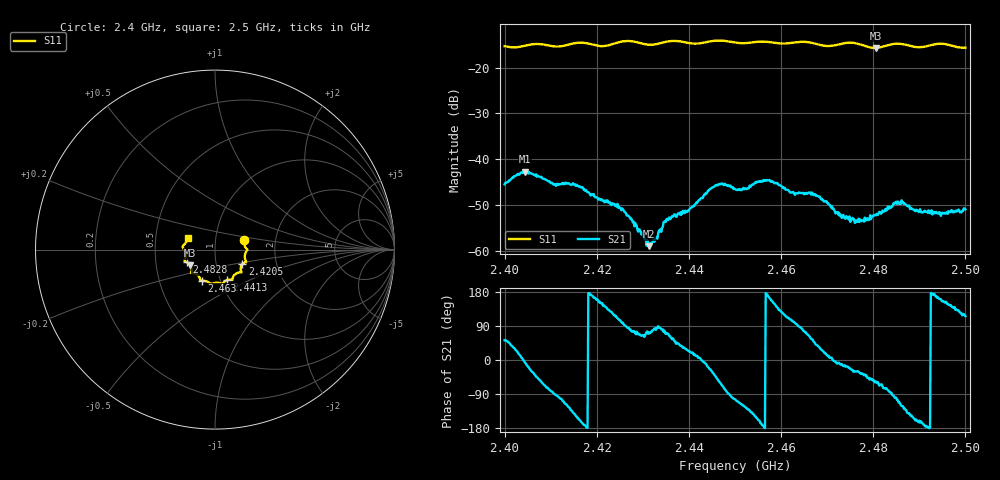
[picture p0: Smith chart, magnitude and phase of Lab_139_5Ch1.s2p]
# Hz S RI R 50
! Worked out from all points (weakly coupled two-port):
!   601 points, 2.4 GHz to 2.5 GHz, reference 50 ohm
!   highest |S21| = -42.65 dB at 2.4045 GHz (marker M1); lowest = -58.9 dB at 2.4313 GHz (marker M2)
!   lowest |S11| = -15.7 dB at 2.4805 GHz (marker M3), VSWR 1.39, Z = 37.3 - j6.69 ohm
!   |S11| at or under -10 dB: start of sweep to end of sweep
!   S12 and S22 are empty: the file has one direction only
!   S11 on the Smith chart (normalised r, x): 2.4 GHz: 1.38, +0.15; 2.4205 GHz: 1.34, -0.22; 2.4413 GHz: 1.08, -0.38; 2.463 GHz: 0.82, -0.29; 2.4828 GHz: 0.72, -0.10; 2.5 GHz: 0.73, +0.10
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2.4e9  0.1629 0.0521  0.00329 0.00422  0 0  0 0
2.4045e9  0.1733 0.00682  0.0073 -0.00105  0 0  0 0
2.410667e9  0.1688 -0.0214  0.000145 -0.00538  0 0  0 0
2.416667e9  0.1735 -0.0697  -0.0048 -0.00137  0 0  0 0
2.4205e9  0.1519 -0.081  -0.00331 0.00175  0 0  0 0
2.425833e9  0.1477 -0.1251  -0.000217 0.00277  0 0  0 0
2.431333e9  0.1147 -0.1354  0.000352 0.00108  0 0  0 0
2.433333e9  0.1005 -0.1517  2.23e-05 0.00157  0 0  0 0
2.435167e9  0.0976 -0.1649  0.000708 0.00213  0 0  0 0
2.441333e9  0.0676 -0.1696  0.00317 0.000675  0 0  0 0
2.446e9  0.0419 -0.1924  0.00358 -0.00385  0 0  0 0
2.45e9  0.0246 -0.1858  -0.00109 -0.00462  0 0  0 0
2.457e9  -0.0252 -0.189  -0.00591 0.000767  0 0  0 0
2.463e9  -0.072 -0.1738  -0.00058 0.00406  0 0  0 0
2.466667e9  -0.0816 -0.1673  0.0025 0.00357  0 0  0 0
2.4755e9  -0.1337 -0.1298  0.00208 -0.001  0 0  0 0
2.4805e9  -0.1384 -0.0872  0.00135 -0.0021  0 0  0 0
2.482833e9  -0.1585 -0.07  0.000753 -0.00266  0 0  0 0
2.483333e9  -0.1625 -0.0681  0.00043 -0.00286  0 0  0 0
2.485833e9  -0.1703 -0.0624  -0.0014 -0.00307  0 0  0 0
2.494333e9  -0.181 0.0161  -0.00253 0.000865  0 0  0 0
2.5e9  -0.1521 0.0639  -0.00123 0.00258  0 0  0 0
